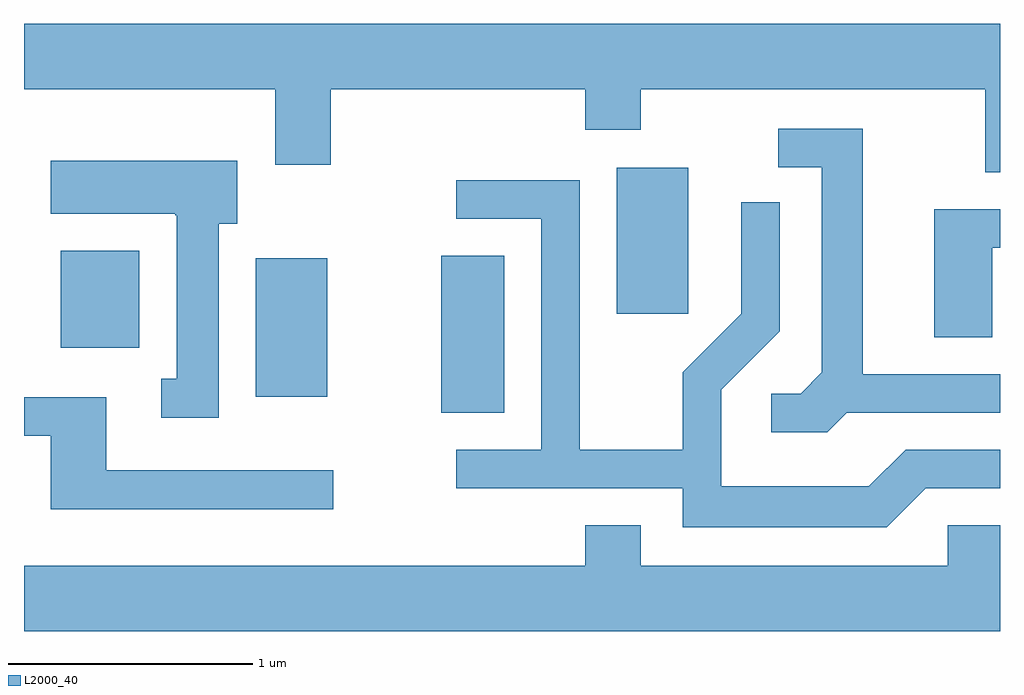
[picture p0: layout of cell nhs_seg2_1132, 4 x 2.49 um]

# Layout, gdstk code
import gdstk
lib = gdstk.Library(unit=1e-6, precision=1e-09)
def R(c, l, rs):  # rectangles x0, y0, x1, y1
    for r in rs: c.add(gdstk.rectangle(r[:2], r[2:], *l))
def P(c, l, *ps):  # polygons
    for p in ps: c.add(gdstk.Polygon(p, *l))
L2000_40 = (2000, 40)

nhs_seg2_1132 = lib.new_cell('nhs_seg2_1132')
R(nhs_seg2_1132, L2000_40, [(219.321,1066.971,219.579,1067.614), (218.561,1067.036,218.854,1067.604), (217.761,1067.236,218.084,1067.634), (220.041,1067.376,220.334,1067.974)])
P(nhs_seg2_1132, L2000_40, [(221.611,1068.564),(217.611,1068.564),(217.611,1068.296),(218.641,1068.296),(218.641,1067.986),(218.869,1067.986),(218.869,1068.296),(219.911,1068.296),(219.911,1068.131),(220.139,1068.131),(220.139,1068.296),(221.551,1068.296),(221.551,1067.956),(221.611,1067.956)],
  [(220.982,1066.971),(221.611,1066.971),(221.611,1067.129),(221.049,1067.129),(221.049,1068.134),(220.703,1068.134),(220.703,1067.976),(220.881,1067.976),(220.881,1067.137),(220.794,1067.049),(220.673,1067.049),(220.673,1066.891),(220.902,1066.891)],
  [(218.409,1067.746),(218.484,1067.746),(218.484,1068.004),(217.721,1068.004),(217.721,1067.786),(218.23,1067.786),(218.23,1067.78),(218.236,1067.78),(218.236,1067.109),(218.173,1067.109),(218.173,1066.951),(218.409,1066.951)],
  [(221.307,1066.661),(221.611,1066.661),(221.611,1066.819),(221.224,1066.819),(221.074,1066.669),(220.469,1066.669),(220.469,1067.064),(220.709,1067.304),(220.709,1067.833),(220.551,1067.833),(220.551,1067.377),(220.311,1067.137),(220.311,1066.819),(219.889,1066.819),(219.889,1067.924),(219.383,1067.924),(219.383,1067.766),(219.731,1067.766),(219.731,1066.819),(219.383,1066.819),(219.383,1066.661),(220.311,1066.661),(220.311,1066.501),(221.147,1066.501)],
  [(221.579,1067.646),(221.611,1067.646),(221.611,1067.804),(221.341,1067.804),(221.341,1067.281),(221.579,1067.281)],
  [(218.878,1066.734),(217.949,1066.734),(217.949,1067.034),(217.611,1067.034),(217.611,1066.876),(217.721,1066.876),(217.721,1066.576),(218.878,1066.576)],
  [(221.611,1066.509),(221.396,1066.509),(221.396,1066.344),(220.139,1066.344),(220.139,1066.509),(219.911,1066.509),(219.911,1066.344),(217.611,1066.344),(217.611,1066.076),(221.611,1066.076)])

lib.write_gds('nhs_seg2_1132.gds')
